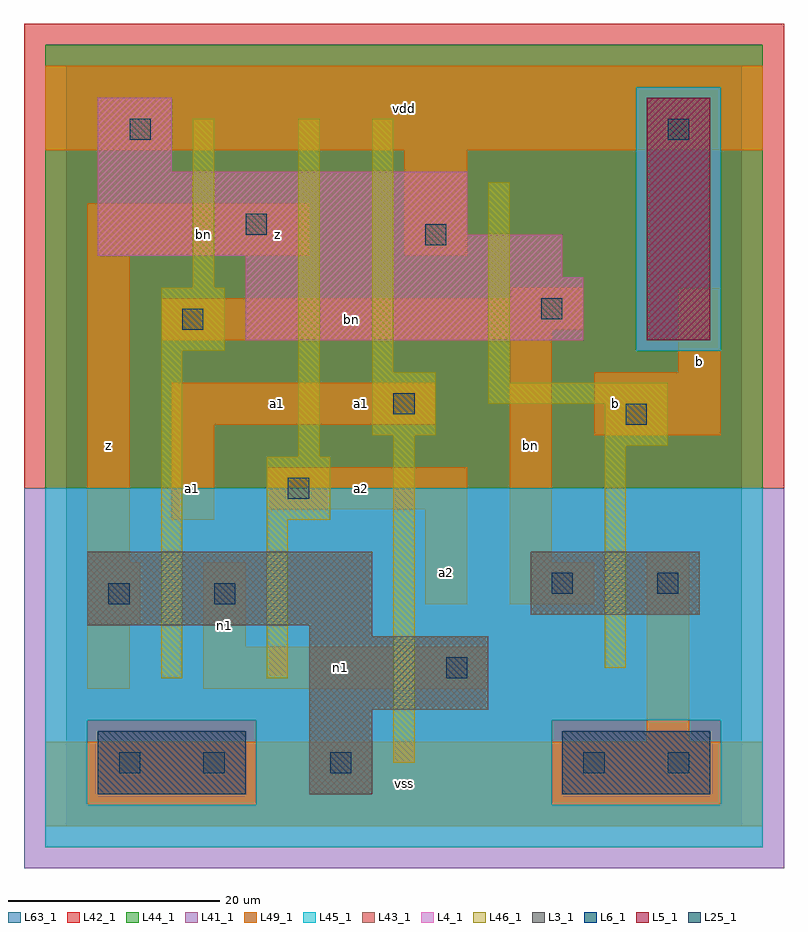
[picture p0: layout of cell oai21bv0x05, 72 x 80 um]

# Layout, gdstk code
import gdstk
lib = gdstk.Library(unit=1e-6, precision=1e-09)
def R(c, l, rs):  # rectangles x0, y0, x1, y1
    for r in rs: c.add(gdstk.rectangle(r[:2], r[2:], *l))
L3_1 = (3, 1)
L4_1 = (4, 1)
L5_1 = (5, 1)
L6_1 = (6, 1)
L25_1 = (25, 1)
L41_1 = (41, 1)
L42_1 = (42, 1)
L43_1 = (43, 1)
L44_1 = (44, 1)
L45_1 = (45, 1)
L46_1 = (46, 1)
L49_1 = (49, 1)
L63_1 = (63, 1)

oai21bv0x05 = lib.new_cell('oai21bv0x05')
R(oai21bv0x05, L3_1, [(23,3,29,11), (23,11,40,18), (23,18,29,19), (2,19,29,26), (44,20,60,26)])
R(oai21bv0x05, L4_1, [(17,46,49,52), (17,52,47,54), (3,54,47,56), (3,56,38,62), (3,62,10,69)])
R(oai21bv0x05, L5_1, [(55,46,61,69)])
R(oai21bv0x05, L6_1, [(3,3,17,9), (3,3,17,9), (47,3,61,9), (47,3,61,9)])
R(oai21bv0x05, L25_1, [(5,5,7,7), (13,5,15,7), (25,5,27,7), (49,5,51,7), (57,5,59,7), (36,14,38,16), (4,21,6,23), (14,21,16,23), (46,22,48,24), (56,22,58,24), (21,31,23,33), (53,38,55,40), (31,39,33,41), (11,47,13,49), (45,48,47,50), (34,55,36,57), (17,56,19,58), (6,65,8,67), (57,65,59,67)])
R(oai21bv0x05, L41_1, [(-4,-4,68,32)])
R(oai21bv0x05, L42_1, [(-4,32,68,76)])
R(oai21bv0x05, L43_1, [(3,3,17,9), (23,3,29,11), (47,3,61,9), (23,11,40,18), (23,18,29,19), (2,19,29,26), (44,20,60,26), (17,46,49,52), (55,46,61,69), (17,52,47,54), (3,54,47,56), (3,56,38,62), (3,62,10,69)])
R(oai21bv0x05, L44_1, [(2,2,18,10), (46,2,62,10), (-2,32,66,45), (-2,45,54,70), (62,45,66,70), (-2,70,66,74)])
R(oai21bv0x05, L45_1, [(-2,-2,66,2), (-2,2,2,10), (18,2,46,10), (62,2,66,10), (-2,10,66,32), (54,45,62,70)])
R(oai21bv0x05, L46_1, [(31,6,33,37), (9,14,11,45), (19,14,21,29), (51,15,53,36), (19,29,25,35), (22,35,24,67), (51,36,57,40), (29,37,35,43), (40,40,57,42), (40,42,42,61), (29,43,31,67), (9,45,15,51), (12,51,14,67)])
R(oai21bv0x05, L49_1, [(-2,0,66,8), (55,8,59,26), (2,13,6,19), (13,13,40,17), (13,17,17,25), (2,19,7,25), (34,21,38,30), (42,21,50,25), (2,25,6,54), (42,25,46,46), (10,29,14,38), (19,30,38,34), (50,37,62,43), (10,38,35,42), (58,43,62,51), (9,46,46,47), (9,47,49,50), (42,50,49,51), (2,54,23,59), (32,54,38,64), (-2,64,66,72)])
R(oai21bv0x05, L63_1, [(0,0,64,72)])
oai21bv0x05.add(gdstk.Label('bn', (13,56), layer=46, texttype=1))
oai21bv0x05.add(gdstk.Label('a1', (12,32), layer=49, texttype=1))
oai21bv0x05.add(gdstk.Label('z', (4,36), layer=49, texttype=1))
oai21bv0x05.add(gdstk.Label('z', (12,56), layer=49, texttype=1))
oai21bv0x05.add(gdstk.Label('n1', (15,19), layer=49, texttype=1))
oai21bv0x05.add(gdstk.Label('a2', (28,32), layer=49, texttype=1))
oai21bv0x05.add(gdstk.Label('a1', (28,40), layer=49, texttype=1))
oai21bv0x05.add(gdstk.Label('a1', (20,40), layer=49, texttype=1))
oai21bv0x05.add(gdstk.Label('z', (20,56), layer=49, texttype=1))
oai21bv0x05.add(gdstk.Label('vss', (32,4), layer=49, texttype=1))
oai21bv0x05.add(gdstk.Label('n1', (26,15), layer=49, texttype=1))
oai21bv0x05.add(gdstk.Label('a2', (36,24), layer=49, texttype=1))
oai21bv0x05.add(gdstk.Label('bn', (44,36), layer=49, texttype=1))
oai21bv0x05.add(gdstk.Label('bn', (27,48), layer=49, texttype=1))
oai21bv0x05.add(gdstk.Label('vdd', (32,68), layer=49, texttype=1))
oai21bv0x05.add(gdstk.Label('b', (52,40), layer=49, texttype=1))
oai21bv0x05.add(gdstk.Label('b', (60,44), layer=49, texttype=1))

lib.write_gds('oai21bv0x05.gds')
